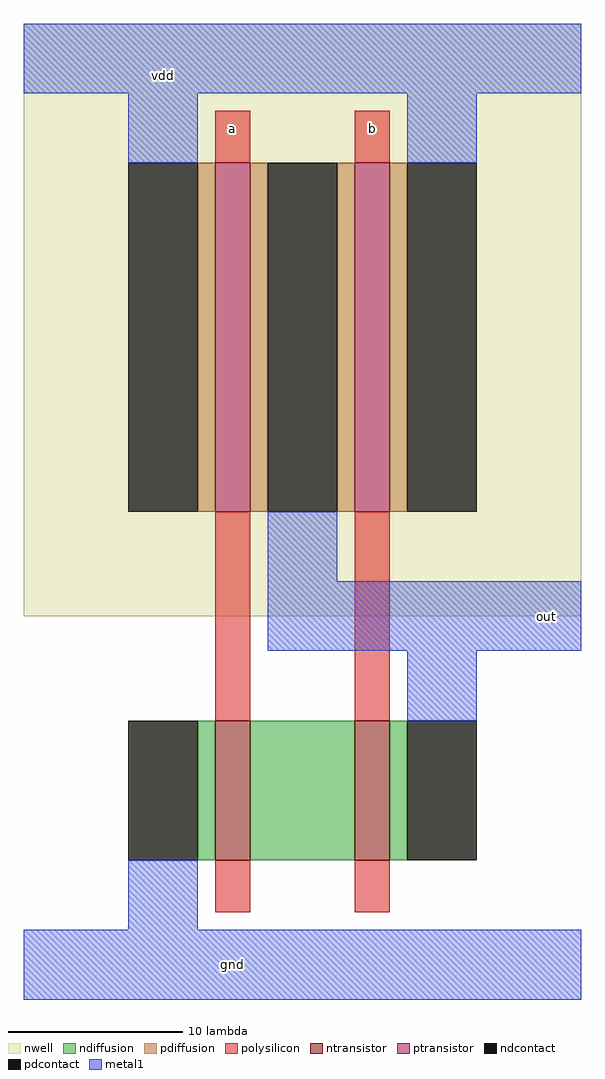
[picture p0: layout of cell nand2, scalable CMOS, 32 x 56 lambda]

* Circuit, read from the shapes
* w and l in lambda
.subckt nand2 a b gnd out vdd
M1 n1 a gnd VSUBS nfet w=8 l=2
M2 out b n1 VSUBS nfet w=8 l=2
M3 out a vdd n2 pfet w=20 l=2
M4 vdd b out n2 pfet w=20 l=2
.ends

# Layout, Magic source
magic
tech scmos
<< nwell >>
rect -8 8 24 42
<< ntransistor >>
rect 3 -6 5 2
rect 11 -6 13 2
<< ptransistor >>
rect 3 14 5 34
rect 11 14 13 34
<< ndiffusion >>
rect 2 -6 3 2
rect 5 -6 11 2
rect 13 -6 14 2
<< pdiffusion >>
rect 2 14 3 34
rect 5 14 6 34
rect 10 14 11 34
rect 13 14 14 34
<< ndcontact >>
rect -2 -6 2 2
rect 14 -6 18 2
<< pdcontact >>
rect -2 14 2 34
rect 6 14 10 34
rect 14 14 18 34
<< polysilicon >>
rect 3 34 5 37
rect 11 34 13 37
rect 3 2 5 14
rect 11 2 13 14
rect 3 -9 5 -6
rect 11 -9 13 -6
<< metal1 >>
rect -8 38 24 42
rect -2 34 2 38
rect 14 34 18 38
rect 6 10 10 14
rect 6 6 24 10
rect 14 2 18 6
rect -2 -10 2 -6
rect -8 -14 24 -10
<< labels >>
rlabel metal1 0 39 0 39 5 vdd
rlabel metal1 4 -12 4 -12 1 gnd
rlabel polysilicon 4 36 4 36 1 a
rlabel polysilicon 12 36 12 36 1 b
rlabel metal1 22 8 22 8 7 out
<< end >>
